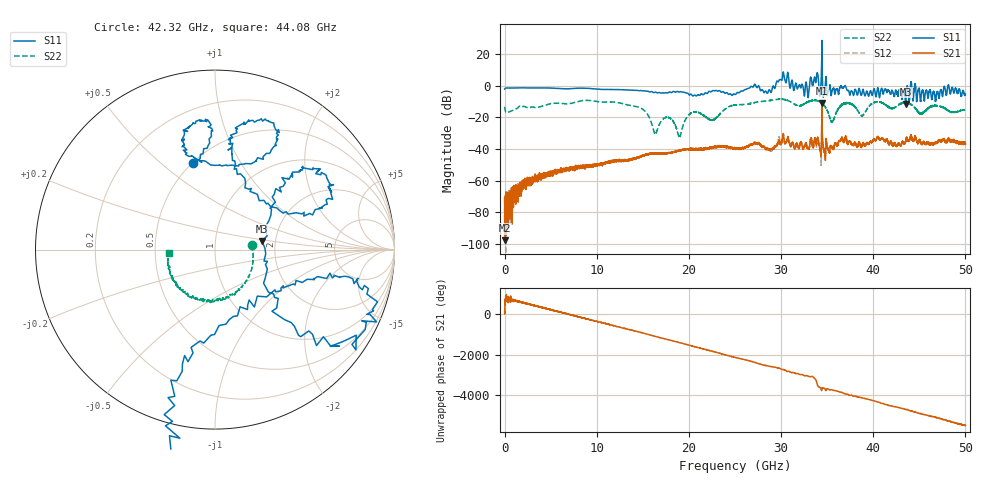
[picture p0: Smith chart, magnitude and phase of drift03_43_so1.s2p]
!Created with skrf (http://scikit-rf.org).
# Hz S RI R 50.0
!freq ReS11 ImS11 ReS21 ImS21 ReS12 ImS12 ReS22 ImS22
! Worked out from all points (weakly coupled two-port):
!   10000 points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, 5.3 MHz to 50 GHz, reference 50 ohm
!   highest |S21| = -10.85 dB at 34.43 GHz (marker M1); lowest = -97.6 dB at 75.3 MHz (marker M2)
!   lowest |S11| = -11.4 dB at 43.51 GHz (marker M3), VSWR 1.73, Z = 85.2 + j8.83 ohm
!   |S11| at or under -10 dB: 43.49097 GHz to 43.54715 GHz (56.18 MHz wide, 0.129 % of centre); 44.70962 GHz to 44.71031 GHz (690.6 kHz wide, 0.00154 % of centre)
!   |S22| runs from -32.7 to -8.4 dB; largest |S21 - S12| = 0.082
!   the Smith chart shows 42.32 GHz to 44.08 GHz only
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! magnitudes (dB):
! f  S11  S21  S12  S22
! 5.3 MHz  -2.1  -70.9  -85.3  -13.3
! 75.3 MHz  -1.5  -97.6  -78.4  -15.8
! 2.155 GHz  -1.3  -63.0  -64.1  -13.0
! 8.34 GHz  -1.5  -51.3  -51.1  -9.5
! 14.55 GHz  -3.1  -45.2  -45.2  -13.5
! 16.67 GHz  -4.4  -43.0  -42.8  -26.2
! 17.81 GHz  -4.2  -42.7  -42.3  -20.2
! 18.98 GHz  -3.9  -41.1  -41.0  -32.6
! 20.29 GHz  -5.6  -40.1  -39.9  -17.0
! 22.58 GHz  -3.1  -39.5  -39.0  -21.8
! 25.01 GHz  -5.5  -40.1  -40.0  -12.1
! 28.72 GHz  -2.5  -40.3  -40.5  -9.3
! 30.14 GHz  4.4  -33.5  -34.1  -8.5
! 32.74 GHz  2.0  -36.7  -36.6  -10.8
! 33.34 GHz  2.6  -35.0  -35.1  -9.3
! 34.43 GHz  28.6  -10.8  -12.6  -10.9
! 35.54 GHz  -3.1  -39.0  -39.0  -22.7
! 36.97 GHz  0.1  -32.6  -32.8  -10.8
! 38.77 GHz  -5.1  -38.0  -38.0  -19.0
! 41.67 GHz  -2.9  -36.7  -36.9  -13.5
! 43.51 GHz  -11.4  -35.1  -35.0  -10.8
! 50 GHz  -5.2  -36.6  -36.5  -15.4
